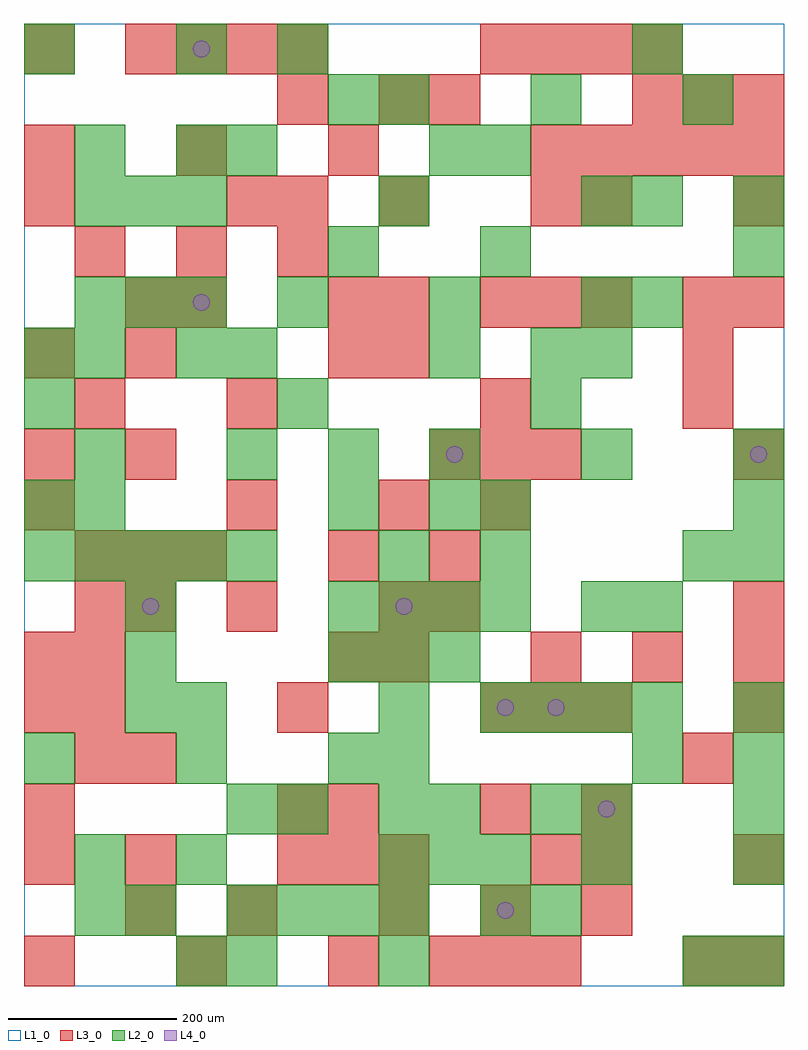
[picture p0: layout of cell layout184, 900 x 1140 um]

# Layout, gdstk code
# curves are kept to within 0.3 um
import gdstk
lib = gdstk.Library(unit=1e-6, precision=1e-09)
def R(c, l, rs):  # rectangles x0, y0, x1, y1
    for r in rs: c.add(gdstk.rectangle(r[:2], r[2:], *l))
def A(c, l, x, y, w, h, nx, ny, dx, dy):  # array of equal rectangles
    R(c, l, [(x+i*dx, y+j*dy, x+i*dx+w, y+j*dy+h) for i in range(nx) for j in range(ny)])
def P(c, l, *ps):  # polygons
    for p in ps: c.add(gdstk.Polygon(p, *l))
L1_0 = (1, 0)
L2_0 = (2, 0)
L3_0 = (3, 0)
L4_0 = (4, 0)

layout184 = lib.new_cell('layout184')
R(layout184, L1_0, [(0,0,900,1140)])
A(layout184, L2_0, 240, 60, 60, 60, 4, 1, 60, 0)
A(layout184, L2_0, 420, 120, 60, 60, 3, 1, 60, 0)
A(layout184, L2_0, 840, 120, 60, 60, 1, 4, 0, 60)
A(layout184, L2_0, 420, 180, 60, 60, 1, 3, 0, 60)
A(layout184, L2_0, 0, 240, 60, 60, 3, 1, 180, 0)
A(layout184, L2_0, 120, 300, 60, 60, 1, 3, 0, 60)
A(layout184, L2_0, 540, 300, 60, 60, 4, 1, 60, 0)
A(layout184, L2_0, 360, 360, 60, 60, 3, 1, 60, 0)
A(layout184, L2_0, 360, 420, 60, 60, 4, 1, 60, 0)
A(layout184, L2_0, 0, 480, 60, 60, 5, 1, 60, 0)
A(layout184, L2_0, 840, 480, 60, 60, 1, 3, 0, 60)
A(layout184, L2_0, 240, 600, 60, 60, 3, 1, 120, 0)
A(layout184, L2_0, 0, 660, 60, 60, 3, 1, 300, 0)
A(layout184, L2_0, 60, 780, 60, 60, 3, 2, 60, 120)
A(layout184, L2_0, 300, 780, 60, 60, 3, 1, 180, 0)
A(layout184, L2_0, 420, 1020, 60, 60, 3, 1, 180, 0)
R(layout184, L2_0, [(180,0,240,60), (240,0,300,60), (420,0,480,60), (780,0,840,60), (840,0,900,60), (60,60,120,120), (120,60,180,120), (540,60,600,120), (600,60,660,120), (60,120,120,180), (180,120,240,180), (660,120,720,180), (240,180,300,240), (300,180,360,240), (480,180,540,240), (600,180,660,240), (660,180,720,240), (720,240,780,300), (180,300,240,360), (660,420,720,480), (720,420,780,480), (420,480,480,540), (540,480,600,540), (780,480,840,540), (0,540,60,600), (60,540,120,600), (360,540,420,600), (480,540,540,600), (540,540,600,600), (60,600,120,660), (660,600,720,660), (0,720,60,780), (60,720,120,780), (180,720,240,780), (240,720,300,780), (480,720,540,780), (600,720,660,780), (660,720,720,780), (720,780,780,840), (360,840,420,900), (540,840,600,900), (840,840,900,900), (420,900,480,960), (660,900,720,960), (720,900,780,960), (840,900,900,960), (60,960,120,1020), (180,960,240,1020), (240,960,300,1020), (480,960,540,1020), (540,960,600,1020), (360,1020,420,1080), (0,1080,60,1140), (180,1080,240,1140), (300,1080,360,1140), (720,1080,780,1140)])
A(layout184, L3_0, 0, 0, 60, 60, 3, 2, 180, 960)
A(layout184, L3_0, 480, 0, 60, 60, 3, 2, 60, 600)
A(layout184, L3_0, 420, 60, 60, 60, 3, 1, 120, 0)
A(layout184, L3_0, 300, 120, 60, 60, 3, 1, 60, 0)
A(layout184, L3_0, 120, 240, 60, 60, 1, 3, 0, 180)
A(layout184, L3_0, 60, 300, 60, 60, 3, 1, 240, 0)
A(layout184, L3_0, 600, 360, 60, 60, 3, 1, 120, 0)
A(layout184, L3_0, 240, 420, 60, 60, 1, 3, 0, 120)
A(layout184, L3_0, 840, 420, 60, 60, 1, 3, 0, 180)
A(layout184, L3_0, 60, 480, 60, 60, 3, 1, 60, 0)
A(layout184, L3_0, 780, 660, 60, 60, 1, 3, 0, 60)
A(layout184, L3_0, 0, 720, 60, 60, 1, 3, 0, 180)
A(layout184, L3_0, 420, 780, 60, 60, 1, 3, 0, 120)
A(layout184, L3_0, 540, 780, 60, 60, 3, 1, 60, 0)
A(layout184, L3_0, 60, 840, 60, 60, 3, 1, 120, 0)
A(layout184, L3_0, 600, 960, 60, 60, 5, 1, 60, 0)
A(layout184, L3_0, 720, 1020, 60, 60, 3, 1, 60, 0)
A(layout184, L3_0, 120, 1080, 60, 60, 4, 1, 60, 0)
A(layout184, L3_0, 540, 1080, 60, 60, 4, 1, 60, 0)
R(layout184, L3_0, [(780,0,840,60), (840,0,900,60), (120,60,180,120), (240,60,300,120), (0,120,60,180), (120,120,180,180), (600,120,660,180), (660,120,720,180), (840,120,900,180), (0,180,60,240), (300,180,360,240), (360,180,420,240), (540,180,600,240), (660,180,720,240), (60,240,120,300), (780,240,840,300), (0,300,60,360), (600,300,660,360), (660,300,720,360), (840,300,900,360), (0,360,60,420), (60,360,120,420), (360,360,420,420), (420,360,480,420), (60,420,120,480), (420,420,480,480), (480,420,540,480), (360,480,420,540), (480,480,540,540), (0,540,60,600), (420,540,480,600), (540,540,600,600), (0,600,60,660), (60,660,120,720), (540,660,600,720), (120,720,180,780), (360,720,420,780), (420,720,480,780), (120,780,180,840), (180,780,240,840), (360,780,420,840), (240,900,300,960), (300,900,360,960), (600,900,660,960), (660,900,720,960), (840,900,900,960), (300,1020,360,1080), (480,1020,540,1080)])
P(layout184, L4_0, [(160,450),(159.239,453.827),(157.071,457.071),(153.827,459.239),(150,460),(146.173,459.239),(142.929,457.071),(140.761,453.827),(140,450),(140.761,446.173),(142.929,442.929),(146.173,440.761),(150,440),(153.827,440.761),(157.071,442.929),(159.239,446.173)],
  [(220,810),(219.239,813.827),(217.071,817.071),(213.827,819.239),(210,820),(206.173,819.239),(202.929,817.071),(200.761,813.827),(200,810),(200.761,806.173),(202.929,802.929),(206.173,800.761),(210,800),(213.827,800.761),(217.071,802.929),(219.239,806.173)],
  [(220,1110),(219.239,1113.827),(217.071,1117.071),(213.827,1119.239),(210,1120),(206.173,1119.239),(202.929,1117.071),(200.761,1113.827),(200,1110),(200.761,1106.173),(202.929,1102.929),(206.173,1100.761),(210,1100),(213.827,1100.761),(217.071,1102.929),(219.239,1106.173)],
  [(460,450),(459.239,453.827),(457.071,457.071),(453.827,459.239),(450,460),(446.173,459.239),(442.929,457.071),(440.761,453.827),(440,450),(440.761,446.173),(442.929,442.929),(446.173,440.761),(450,440),(453.827,440.761),(457.071,442.929),(459.239,446.173)],
  [(520,630),(519.239,633.827),(517.071,637.071),(513.827,639.239),(510,640),(506.173,639.239),(502.929,637.071),(500.761,633.827),(500,630),(500.761,626.173),(502.929,622.929),(506.173,620.761),(510,620),(513.827,620.761),(517.071,622.929),(519.239,626.173)],
  [(580,90),(579.239,93.827),(577.071,97.071),(573.827,99.239),(570,100),(566.173,99.239),(562.929,97.071),(560.761,93.827),(560,90),(560.761,86.173),(562.929,82.929),(566.173,80.761),(570,80),(573.827,80.761),(577.071,82.929),(579.239,86.173)],
  [(580,330),(579.239,333.827),(577.071,337.071),(573.827,339.239),(570,340),(566.173,339.239),(562.929,337.071),(560.761,333.827),(560,330),(560.761,326.173),(562.929,322.929),(566.173,320.761),(570,320),(573.827,320.761),(577.071,322.929),(579.239,326.173)],
  [(640,330),(639.239,333.827),(637.071,337.071),(633.827,339.239),(630,340),(626.173,339.239),(622.929,337.071),(620.761,333.827),(620,330),(620.761,326.173),(622.929,322.929),(626.173,320.761),(630,320),(633.827,320.761),(637.071,322.929),(639.239,326.173)],
  [(700,210),(699.239,213.827),(697.071,217.071),(693.827,219.239),(690,220),(686.173,219.239),(682.929,217.071),(680.761,213.827),(680,210),(680.761,206.173),(682.929,202.929),(686.173,200.761),(690,200),(693.827,200.761),(697.071,202.929),(699.239,206.173)],
  [(880,630),(879.239,633.827),(877.071,637.071),(873.827,639.239),(870,640),(866.173,639.239),(862.929,637.071),(860.761,633.827),(860,630),(860.761,626.173),(862.929,622.929),(866.173,620.761),(870,620),(873.827,620.761),(877.071,622.929),(879.239,626.173)])

lib.write_gds('layout184.gds')
